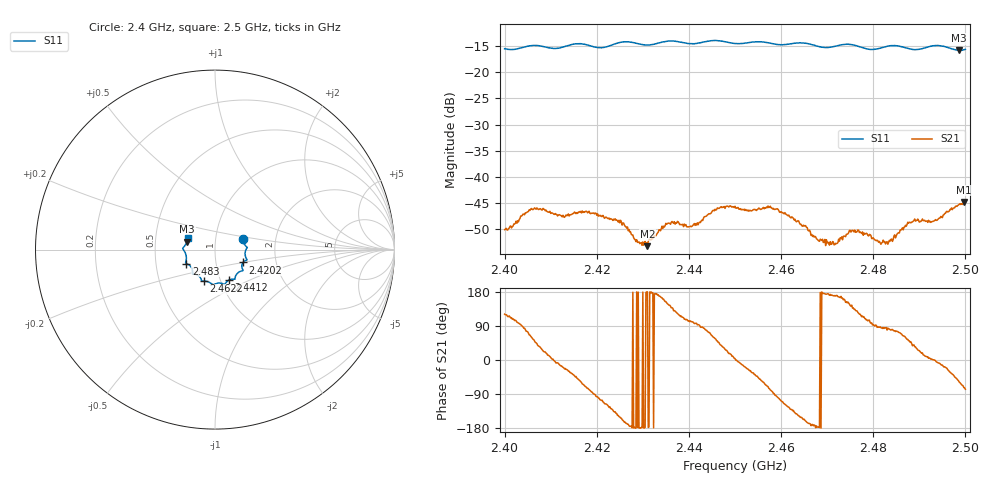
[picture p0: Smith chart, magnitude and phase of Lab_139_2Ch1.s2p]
# Hz S RI R 50
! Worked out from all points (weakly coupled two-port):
!   601 points, 2.4 GHz to 2.5 GHz, reference 50 ohm
!   highest |S21| = -44.76 dB at 2.4997 GHz (marker M1); lowest = -53.2 dB at 2.431 GHz (marker M2)
!   lowest |S11| = -15.8 dB at 2.4987 GHz (marker M3), VSWR 1.39, Z = 36.4 + j3.3 ohm
!   |S11| at or under -10 dB: start of sweep to end of sweep
!   S12 and S22 are empty: the file has one direction only
!   S11 on the Smith chart (normalised r, x): 2.4 GHz: 1.36, +0.17; 2.4202 GHz: 1.35, -0.20; 2.4412 GHz: 1.09, -0.39; 2.4622 GHz: 0.83, -0.30; 2.483 GHz: 0.72, -0.12; 2.5 GHz: 0.73, +0.09
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2.4e9  0.1565 0.0602  -0.00162 0.00269  0 0  0 0
2.406167e9  0.1794 0.0132  0.00281 0.00399  0 0  0 0
2.416667e9  0.1776 -0.0581  0.00234 -0.00388  0 0  0 0
2.420167e9  0.1563 -0.0718  -0.000542 -0.00442  0 0  0 0
2.431e9  0.1255 -0.1315  -0.00218 2.74e-06  0 0  0 0
2.433333e9  0.1129 -0.1521  -0.00293 0.000406  0 0  0 0
2.436e9  0.1108 -0.165  -0.00278 0.00217  0 0  0 0
2.441167e9  0.0753 -0.1713  -0.000393 0.00357  0 0  0 0
2.4465e9  0.0503 -0.1936  0.00345 0.00362  0 0  0 0
2.45e9  0.0267 -0.1862  0.00523 0.00036  0 0  0 0
2.4575e9  -0.0215 -0.1885  0.00122 -0.00499  0 0  0 0
2.462167e9  -0.0629 -0.1762  -0.00264 -0.00309  0 0  0 0
2.466667e9  -0.0763 -0.1671  -0.00278 -0.00048  0 0  0 0
2.471833e9  -0.1134 -0.1366  -0.00228 0.000449  0 0  0 0
2.476333e9  -0.1252 -0.1282  -0.00191 0.00228  0 0  0 0
2.483e9  -0.1589 -0.0779  0.000458 0.00236  0 0  0 0
2.483333e9  -0.1604 -0.0773  0.000326 0.00235  0 0  0 0
2.487833e9  -0.1594 -0.0507  0.00234 0.00286  0 0  0 0
2.4935e9  -0.1797 0.00544  0.00391 -9.06e-05  0 0  0 0
2.498667e9  -0.1557 0.0442  0.00289 -0.00468  0 0  0 0
2.499667e9  -0.1533 0.058  0.0017 -0.00552  0 0  0 0
2.5e9  -0.1529 0.0627  0.00129 -0.00561  0 0  0 0
